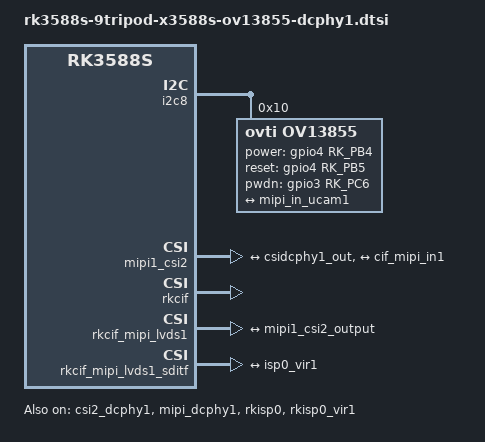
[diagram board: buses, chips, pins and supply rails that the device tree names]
// SPDX-License-Identifier: (GPL-2.0+ OR MIT)
/*
 * Copyright (c) 2021 Rockchip Electronics Co., Ltd.
 *
 */

&csi2_dcphy1 {
	status = "okay";

	ports {
		#address-cells = <1>;
		#size-cells = <0>;
		port@0 {
			reg = <0>;
			#address-cells = <1>;
			#size-cells = <0>;

			mipi_in_ucam1: endpoint@1 {
				reg = <1>;
				remote-endpoint = <&ov13855_out>;
				data-lanes = <1 2 3 4>;
			};
		};
		port@1 {
			reg = <1>;
			#address-cells = <1>;
			#size-cells = <0>;

			csidcphy1_out: endpoint@0 {
				reg = <0>;
				remote-endpoint = <&mipi1_csi2_input>;
			};
		};
	};
};

&mipi_dcphy1 {
	status = "okay";
};

&i2c8 {
	status = "okay";
	pinctrl-names = "default";
	pinctrl-0 = <&i2c8m2_xfer>;

	ov13855: ov13855@10 {
		compatible = "ovti,ov13855";
		status = "okay";
		reg = <0x10>;
		clocks = <&cru CLK_MIPI_CAMARAOUT_M3>;
		clock-names = "xvclk";
		power-domains = <&power RK3588_PD_VI>;
		pinctrl-names = "default";
		pinctrl-0 = <&mipim1_camera3_clk>;
		rockchip,grf = <&sys_grf>;
		power-gpios = <&gpio4 RK_PB4 GPIO_ACTIVE_HIGH>;
		reset-gpios = <&gpio4 RK_PB5 GPIO_ACTIVE_HIGH>;
		pwdn-gpios = <&gpio3 RK_PC6 GPIO_ACTIVE_HIGH>;
		rockchip,camera-module-index = <1>;
		rockchip,camera-module-facing = "front";
		rockchip,camera-module-name = "CMK-OT2016-FV1";
		rockchip,camera-module-lens-name = "default";
		port {
			ov13855_out: endpoint {
				remote-endpoint = <&mipi_in_ucam1>;
				data-lanes = <1 2 3 4>;
			};
		};
	};
};

&mipi1_csi2 {
	status = "okay";

	ports {
		#address-cells = <1>;
		#size-cells = <0>;

		port@0 {
			reg = <0>;
			#address-cells = <1>;
			#size-cells = <0>;

			mipi1_csi2_input: endpoint@1 {
				reg = <1>;
				remote-endpoint = <&csidcphy1_out>;
			};
		};

		port@1 {
			reg = <1>;
			#address-cells = <1>;
			#size-cells = <0>;

			mipi1_csi2_output: endpoint@0 {
				reg = <0>;
				remote-endpoint = <&cif_mipi_in1>;
			};
		};
	};
};

&rkcif {
	status = "okay";
};

&rkcif_mipi_lvds1 {
	status = "okay";

	port {
		cif_mipi_in1: endpoint {
			remote-endpoint = <&mipi1_csi2_output>;
		};
	};
};

&rkcif_mipi_lvds1_sditf {
	status = "okay";

	port {
		mipi_lvds1_sditf: endpoint {
			remote-endpoint = <&isp0_vir1>;
		};
	};
};

&rkcif_mmu {
	status = "okay";
};

&rkisp0 {
	status = "okay";
};

&isp0_mmu {
	status = "okay";
};

&rkisp0_vir1 {
	status = "okay";

	port {
		#address-cells = <1>;
		#size-cells = <0>;

		isp0_vir1: endpoint@0 {
			reg = <0>;
			remote-endpoint = <&mipi_lvds1_sditf>;
		};
	};
};
